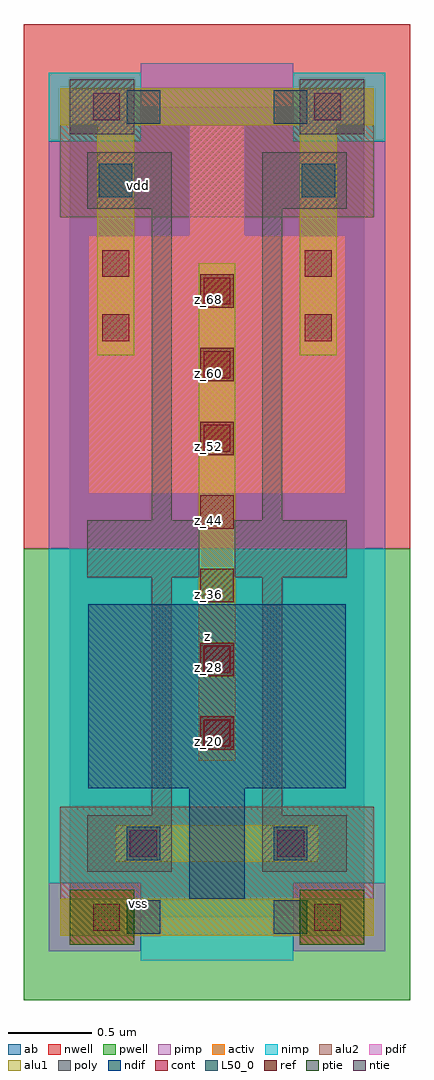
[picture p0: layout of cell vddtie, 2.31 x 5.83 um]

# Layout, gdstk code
import gdstk
lib = gdstk.Library(unit=1e-6, precision=2.5e-09)
def R(c, l, rs):  # rectangles x0, y0, x1, y1
    for r in rs: c.add(gdstk.rectangle(r[:2], r[2:], *l))
def A(c, l, x, y, w, h, nx, ny, dx, dy):  # array of equal rectangles
    R(c, l, [(x+i*dx, y+j*dy, x+i*dx+w, y+j*dy+h) for i in range(nx) for j in range(ny)])
ndif = (3, 0)
pdif = (4, 0)
ntie = (5, 0)
ptie = (6, 0)
ref = (24, 0)
cont = (25, 0)
pwell = (41, 0)
nwell = (42, 0)
activ = (43, 0)
pimp = (44, 0)
nimp = (45, 0)
poly = (46, 0)
alu1 = (49, 0)
L50_0 = (50, 0)
alu2 = (51, 0)
ab = (63, 0)

vddtie = lib.new_cell('vddtie')
R(vddtie, ndif, [(0.715,0.11,1.045,0.77), (0.11,0.77,1.65,1.87)])
R(vddtie, pdif, [(0.11,2.53,1.65,4.07), (0.715,4.07,1.045,4.73)])
R(vddtie, ntie, [(0,4.675,0.385,5.005), (1.375,4.675,1.76,5.005)])
R(vddtie, ptie, [(0,-0.165,0.385,0.165), (1.375,-0.165,1.76,0.165)])
A(vddtie, ref, 0.78, 1, 0.2, 0.2, 1, 7, 0, 0.44)
A(vddtie, cont, 0.8, 2.78, 0.16, 0.16, 1, 3, 0, 0.44)
R(vddtie, cont, [(0.14,-0.08,0.3,0.08), (1.46,-0.08,1.62,0.08), (0.36,0.36,0.52,0.52), (1.24,0.36,1.4,0.52), (0.8,1.02,0.96,1.18), (0.8,1.46,0.96,1.62), (0.195,3.44,0.355,3.6), (1.405,3.44,1.565,3.6), (0.195,3.825,0.355,3.985), (1.405,3.825,1.565,3.985), (0.14,4.76,0.3,4.92), (1.46,4.76,1.62,4.92)])
R(vddtie, pwell, [(-0.275,-0.495,2.035,2.2)])
R(vddtie, nwell, [(-0.275,2.2,2.035,5.335)])
R(vddtie, activ, [(0,-0.165,0.385,0.165), (1.375,-0.165,1.76,0.165), (0.715,0.11,1.045,0.77), (0.11,0.77,1.65,1.87), (0.11,2.53,1.65,4.07), (0.715,4.07,1.045,4.73), (0,4.675,0.385,5.005), (1.375,4.675,1.76,5.005)])
R(vddtie, pimp, [(-0.125,-0.205,0.425,0.205), (1.335,-0.205,1.885,0.205), (-0.125,2.2,1.885,4.635), (0.425,4.635,1.335,5.1)])
R(vddtie, nimp, [(0.425,-0.26,1.335,0.205), (-0.125,0.205,1.885,2.2), (-0.125,4.635,0.425,5.045), (1.335,4.635,1.885,5.045)])
R(vddtie, poly, [(0.105,0.27,0.61,0.61), (1.15,0.27,1.655,0.61), (0.49,0.61,0.61,2.03), (1.15,0.61,1.27,2.03), (0.105,2.03,0.775,2.37), (0.985,2.03,1.655,2.37), (0.49,2.37,0.61,4.23), (1.15,2.37,1.27,4.23), (0.105,4.23,0.61,4.57), (1.15,4.23,1.655,4.57)])
R(vddtie, alu1, [(-0.055,-0.11,1.815,0.11), (0.275,0.33,1.485,0.55), (0.77,0.935,0.99,3.905), (0.165,3.355,0.385,4.73), (1.375,3.355,1.595,4.73), (-0.055,4.73,1.815,4.95)])
R(vddtie, L50_0, [(0.34,-0.1,0.54,0.1), (1.22,-0.1,1.42,0.1), (0.34,0.34,0.54,0.54), (1.22,0.34,1.42,0.54), (0.175,4.3,0.375,4.5), (1.385,4.3,1.585,4.5), (0.34,4.74,0.54,4.94), (1.22,4.74,1.42,4.94)])
R(vddtie, alu2, [(-0.055,-0.11,1.815,0.66), (-0.055,4.18,1.815,4.95)])
R(vddtie, ab, [(0,0,1.76,4.84)])
vddtie.add(gdstk.Label('z', (0.825,1.6775), layer=49, texttype=0))
vddtie.add(gdstk.Label('vss', (0.4125,0.0825), layer=51, texttype=0))
vddtie.add(gdstk.Label('vdd', (0.4125,4.3725), layer=51, texttype=0))
vddtie.add(gdstk.Label('z_68', (0.83,3.69), layer=24, texttype=0))
vddtie.add(gdstk.Label('z_60', (0.83,3.25), layer=24, texttype=0))
vddtie.add(gdstk.Label('z_52', (0.83,2.81), layer=24, texttype=0))
vddtie.add(gdstk.Label('z_44', (0.83,2.37), layer=24, texttype=0))
vddtie.add(gdstk.Label('z_36', (0.83,1.93), layer=24, texttype=0))
vddtie.add(gdstk.Label('z_28', (0.83,1.49), layer=24, texttype=0))
vddtie.add(gdstk.Label('z_20', (0.83,1.05), layer=24, texttype=0))

lib.write_gds('vddtie.gds')
